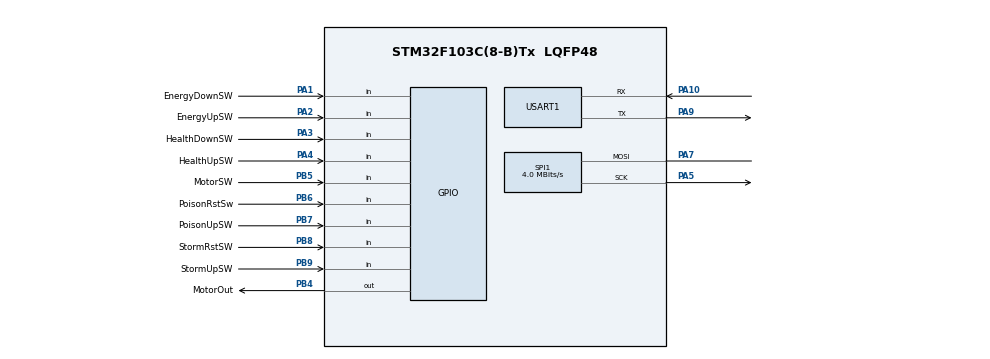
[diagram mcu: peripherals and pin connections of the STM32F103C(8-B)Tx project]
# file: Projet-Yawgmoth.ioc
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Mcu.Family=STM32F1
Mcu.Name=STM32F103C(8-B)Tx
Mcu.Package=LQFP48
NVIC.PriorityGroup=NVIC_PRIORITYGROUP_4
PA1.GPIO_Label=EnergyDownSW
PA1.Signal=GPIO_Input
PA10.Mode=Asynchronous
PA10.Signal=USART1_RX
PA2.GPIO_Label=EnergyUpSW
PA2.Signal=GPIO_Input
PA3.GPIO_Label=HealthDownSW
PA3.Signal=GPIO_Input
PA4.GPIO_Label=HealthUpSW
PA4.Signal=GPIO_Input
PA5.Mode=Simplex_Bidirectional_Master
PA5.Signal=SPI1_SCK
PA7.Mode=Simplex_Bidirectional_Master
PA7.Signal=SPI1_MOSI
PA9.Mode=Asynchronous
PA9.Signal=USART1_TX
PB4.GPIO_Label=MotorOut
PB4.Signal=GPIO_Output
PB5.GPIO_Label=MotorSW
PB5.Signal=GPIO_Input
PB6.GPIO_Label=PoisonRstSw
PB6.Signal=GPIO_Input
PB7.GPIO_Label=PoisonUpSW
PB7.Signal=GPIO_Input
PB8.GPIO_Label=StormRstSW
PB8.Signal=GPIO_Input
PB9.GPIO_Label=StormUpSW
PB9.Signal=GPIO_Input
ProjectManager.HeapSize=0x200
ProjectManager.StackSize=0x400
ProjectManager.TargetToolchain=Makefile
RCC.APB1Freq_Value=8000000
RCC.APB2Freq_Value=8000000
SPI1.CalculateBaudRate=4.0 MBits/s
SPI1.Direction=SPI_DIRECTION_1LINE
SPI1.Mode=SPI_MODE_MASTER
SPI1.VirtualType=VM_MASTER
USART1.VirtualMode=VM_ASYNC
VP_SYS_VS_ND.Mode=No_Debug
board=custom

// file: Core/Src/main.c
/* USER CODE BEGIN Header */
/**
  ******************************************************************************
  * @file           : main.c
  * @brief          : Main program body
  ******************************************************************************
  * @attention
  *
  * Copyright (c) 2026 STMicroelectronics.
  * All rights reserved.
  *
  * This software is licensed under terms that can be found in the LICENSE file
  * in the root directory of this software component.
  * If no LICENSE file comes with this software, it is provided AS-IS.
  *
  ******************************************************************************
  */
/* USER CODE END Header */
#include "main.h"

/* USER CODE BEGIN Includes */
#include "Bouton.h"
#include "MAX7219.h"

/* USER CODE END Includes */

/* USER CODE BEGIN PD */
#define MOTOR_ON_DURATION 1000 // Duration to keep the motor on in milliseconds
/* USER CODE END PD */

SPI_HandleTypeDef hspi1;

UART_HandleTypeDef huart1;

void SystemClock_Config(void);
static void MX_GPIO_Init(void);
static void MX_SPI1_Init(void);
static void MX_USART1_UART_Init(void);

int main(void)
{

  /* USER CODE BEGIN 1 */
  unsigned char ucHealthCounter = 20;
  unsigned char ucEnergyCounter = 0;
  unsigned char ucPoisonCounter = 0;
  unsigned char ucStormCounter = 0;
  /* USER CODE END 1 */

  /* MCU Configuration--------------------------------------------------------*/

  /* Reset of all peripherals, Initializes the Flash interface and the Systick. */
  HAL_Init();

  /* Configure the system clock */
  SystemClock_Config();

  /* Initialize all configured peripherals */
  MX_GPIO_Init();
  MX_SPI1_Init();
  MX_USART1_UART_Init();
  /* USER CODE BEGIN 2 */
 MAX7219_Init(hspi1);
  /* USER CODE END 2 */

  /* Infinite loop */
  while (1)
  {

    /* USER CODE BEGIN 3 */
    DisplayHealth(ucHealthCounter);
    DisplayEnergy(ucEnergyCounter);
    DisplayPoison(ucPoisonCounter);
    DisplayStorm(ucStormCounter);
  }
  /* USER CODE END 3 */
}

void SystemClock_Config(void)
{
  RCC_OscInitTypeDef RCC_OscInitStruct = {0};
  RCC_ClkInitTypeDef RCC_ClkInitStruct = {0};

  /** Initializes the RCC Oscillators according to the specified parameters
  * in the RCC_OscInitTypeDef structure.
  */
  RCC_OscInitStruct.OscillatorType = RCC_OSCILLATORTYPE_HSI;
  RCC_OscInitStruct.HSIState = RCC_HSI_ON;
  RCC_OscInitStruct.HSICalibrationValue = RCC_HSICALIBRATION_DEFAULT;
  RCC_OscInitStruct.PLL.PLLState = RCC_PLL_NONE;
  if (HAL_RCC_OscConfig(&RCC_OscInitStruct) != HAL_OK)
  {
    Error_Handler();
  }

  /** Initializes the CPU, AHB and APB buses clocks
  */
  RCC_ClkInitStruct.ClockType = RCC_CLOCKTYPE_HCLK|RCC_CLOCKTYPE_SYSCLK
                              |RCC_CLOCKTYPE_PCLK1|RCC_CLOCKTYPE_PCLK2;
  RCC_ClkInitStruct.SYSCLKSource = RCC_SYSCLKSOURCE_HSI;
  RCC_ClkInitStruct.AHBCLKDivider = RCC_SYSCLK_DIV1;
  RCC_ClkInitStruct.APB1CLKDivider = RCC_HCLK_DIV1;
  RCC_ClkInitStruct.APB2CLKDivider = RCC_HCLK_DIV1;

  if (HAL_RCC_ClockConfig(&RCC_ClkInitStruct, FLASH_LATENCY_0) != HAL_OK)
  {
    Error_Handler();
  }
}

static void MX_SPI1_Init(void)
{

  /* SPI1 parameter configuration*/
  hspi1.Instance = SPI1;
  hspi1.Init.Mode = SPI_MODE_MASTER;
  hspi1.Init.Direction = SPI_DIRECTION_1LINE;
  hspi1.Init.DataSize = SPI_DATASIZE_8BIT;
  hspi1.Init.CLKPolarity = SPI_POLARITY_LOW;
  hspi1.Init.CLKPhase = SPI_PHASE_1EDGE;
  hspi1.Init.NSS = SPI_NSS_SOFT;
  hspi1.Init.BaudRatePrescaler = SPI_BAUDRATEPRESCALER_2;
  hspi1.Init.FirstBit = SPI_FIRSTBIT_MSB;
  hspi1.Init.TIMode = SPI_TIMODE_DISABLE;
  hspi1.Init.CRCCalculation = SPI_CRCCALCULATION_DISABLE;
  hspi1.Init.CRCPolynomial = 10;
  if (HAL_SPI_Init(&hspi1) != HAL_OK)
  {
    Error_Handler();
  }

}

static void MX_USART1_UART_Init(void)
{

  huart1.Instance = USART1;
  huart1.Init.BaudRate = 115200;
  huart1.Init.WordLength = UART_WORDLENGTH_8B;
  huart1.Init.StopBits = UART_STOPBITS_1;
  huart1.Init.Parity = UART_PARITY_NONE;
  huart1.Init.Mode = UART_MODE_TX_RX;
  huart1.Init.HwFlowCtl = UART_HWCONTROL_NONE;
  huart1.Init.OverSampling = UART_OVERSAMPLING_16;
  if (HAL_UART_Init(&huart1) != HAL_OK)
  {
    Error_Handler();
  }

}

static void MX_GPIO_Init(void)
{
  GPIO_InitTypeDef GPIO_InitStruct = {0};

  /* GPIO Ports Clock Enable */
  __HAL_RCC_GPIOA_CLK_ENABLE();
  __HAL_RCC_GPIOB_CLK_ENABLE();

  /*Configure GPIO pin Output Level */
  HAL_GPIO_WritePin(MotorOut_GPIO_Port, MotorOut_Pin, GPIO_PIN_RESET);

  /*Configure GPIO pins : EnergyDownSW_Pin EnergyUpSW_Pin HealthDownSW_Pin HealthUpSW_Pin */
  GPIO_InitStruct.Pin = EnergyDownSW_Pin|EnergyUpSW_Pin|HealthDownSW_Pin|HealthUpSW_Pin;
  GPIO_InitStruct.Mode = GPIO_MODE_INPUT;
  GPIO_InitStruct.Pull = GPIO_NOPULL;
  HAL_GPIO_Init(GPIOA, &GPIO_InitStruct);

  /*Configure GPIO pin : MotorOut_Pin */
  GPIO_InitStruct.Pin = MotorOut_Pin;
  GPIO_InitStruct.Mode = GPIO_MODE_OUTPUT_PP;
  GPIO_InitStruct.Pull = GPIO_NOPULL;
  GPIO_InitStruct.Speed = GPIO_SPEED_FREQ_LOW;
  HAL_GPIO_Init(MotorOut_GPIO_Port, &GPIO_InitStruct);

  /*Configure GPIO pins : MotorSW_Pin PoisonRstSw_Pin PoisonUpSW_Pin StormRstSW_Pin
                           StormUpSW_Pin */
  GPIO_InitStruct.Pin = MotorSW_Pin|PoisonRstSw_Pin|PoisonUpSW_Pin|StormRstSW_Pin
                          |StormUpSW_Pin;
  GPIO_InitStruct.Mode = GPIO_MODE_INPUT;
  GPIO_InitStruct.Pull = GPIO_NOPULL;
  HAL_GPIO_Init(GPIOB, &GPIO_InitStruct);

}

/* USER CODE BEGIN 4 */
void DisplayHealth(unsigned char health) {
  MAX7219_Display(hspi1, 0, health / 10); // Display tens digit on the first digit);
  MAX7219_Display(hspi1, 1, health % 10); // Display units digit on the second digit);
}

void DisplayEnergy(unsigned char energy) {
  MAX7219_Display(hspi1, 2, energy / 10); // Display tens digit on the third digit);
  MAX7219_Display(hspi1, 3, energy % 10); // Display units digit on the fourth digit);
}

void DisplayStorm(unsigned char storm) {
  MAX7219_Display(hspi1, 4, storm / 10); // Display tens digit on the fifth digit);
  MAX7219_Display(hspi1, 5, storm % 10); // Display units digit on the sixth digit);
}

void DisplayPoison(unsigned char poison) {
  MAX7219_Display(hspi1, 6, poison); // Display poison value on the seventh digit(poison is between 0 and 9, you automatically lose at ten or more);
}
/* USER CODE END 4 */

void Error_Handler(void)
{
  __disable_irq();
  while (1)
  {
  }
}
